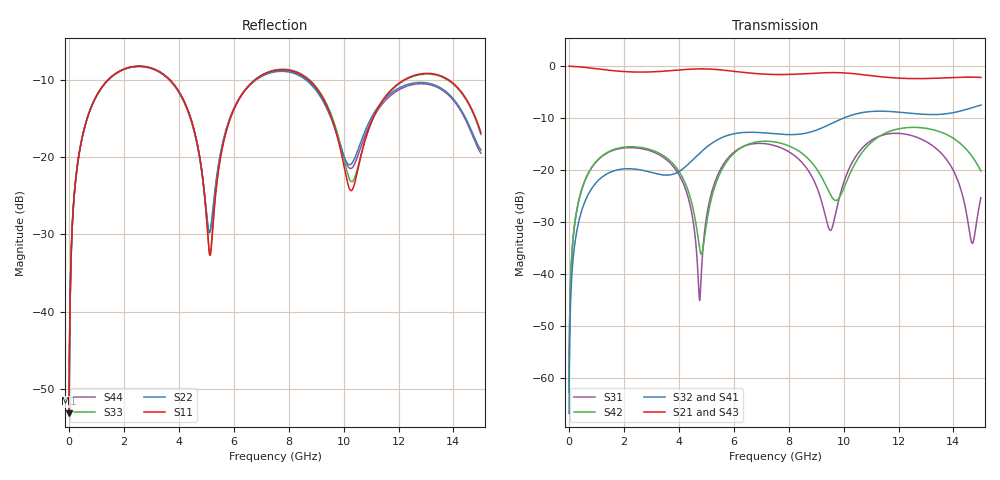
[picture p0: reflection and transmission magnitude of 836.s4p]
! Created with skrf 1.8.0 (http://scikit-rf.org).
# GHz S RI R 50.0
!freq ReS11 ImS11 ReS12 ImS12 ReS13 ImS13
! ReS14 ImS14
! ReS21 ImS21 ReS22 ImS22 ReS23 ImS23
! ReS24 ImS24
! ReS31 ImS31 ReS32 ImS32 ReS33 ImS33
! ReS34 ImS34
! ReS41 ImS41 ReS42 ImS42 ReS43 ImS43
! ReS44 ImS44
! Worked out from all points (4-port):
!   2499 points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, 5 MHz to 15 GHz, reference 50 ohm
!   strongest paths, dB at 5 MHz, 3.476 GHz, 7.19 GHz, 11.1 GHz, 15 GHz:
!     S21: 0.0, -1.0, -1.6, -1.9, -2.2
!     S43: 0.0, -1.0, -1.6, -1.9, -2.2
!     S32: -66.7, -20.9, -12.9, -8.7, -7.5
!     S41: -66.7, -20.9, -12.9, -8.7, -7.5
!     S42: -62.6, -17.3, -14.4, -14.3, -20.1
!     S31: -62.6, -17.7, -14.9, -14.0, -25.3
!   lowest |S11| = -53.2 dB at 5 MHz (marker M1), VSWR 1.00, Z = 50.2 + j0.133 ohm
!   |S11| at or under -10 dB: start of sweep to 1.413 GHz; 3.685 GHz to 6.762 GHz (3.077 GHz wide, 58.9 % of centre); 8.739 GHz to 12.18 GHz (3.443 GHz wide, 32.9 % of centre) (the widest 3 of 4)
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0.005  0.00175 0.00132  0.9982 -0.0034  8.94e-05 0.000733  -8.67e-05 -0.000454
       0.9982 -0.0034  0.00175 0.00132  -8.67e-05 -0.000454  8.95e-05 0.000733
       8.94e-05 0.000733  -8.67e-05 -0.000454  0.00175 0.00132  0.9982 -0.0034
       -8.67e-05 -0.000454  8.95e-05 0.000733  0.9982 -0.0034  0.00175 0.00132
0.3126303  0.0268 0.0864  0.9633 -0.2109  0.0128 0.0432  -0.0108 -0.0263
           0.9633 -0.2109  0.0268 0.0864  -0.0108 -0.0263  0.0133 0.0431
           0.0128 0.0432  -0.0108 -0.0263  0.0268 0.0864  0.9633 -0.2109
           -0.0108 -0.0263  0.0133 0.0431  0.9633 -0.2109  0.0268 0.0864
1.569404  0.2923 0.1647  0.4979 -0.7565  0.1407 0.0621  -0.097 0.00303
          0.4979 -0.7565  0.2903 0.1663  -0.0971 0.00308  0.146 0.0541
          0.1407 0.0621  -0.0971 0.00308  0.2923 0.1647  0.4978 -0.7566
          -0.097 0.00303  0.146 0.0541  0.4978 -0.7566  0.2903 0.1663
4.75198  0.0436 -0.093  -0.8922 -0.297  0.00568 -0.00013  -0.0415 0.139
         -0.8922 -0.297  0.052 -0.0863  -0.0408 0.1392  -0.0152 -0.00973
         0.00568 -0.00013  -0.0408 0.1392  0.0438 -0.0929  -0.8922 -0.2968
         -0.0415 0.139  -0.0152 -0.00973  -0.8922 -0.2968  0.0518 -0.0864
7.903293  0.368 -0.0292  -0.0304 0.8297  0.1415 -0.0648  0.2122 -0.0553
          -0.0304 0.8297  0.3593 -0.019  0.2125 -0.0571  0.1432 -0.1012
          0.1415 -0.0648  0.2125 -0.0571  0.3708 -0.0273  -0.03 0.8285
          0.2122 -0.0553  0.1432 -0.1012  -0.03 0.8285  0.3625 -0.0214
10.64819  0.0842 0.0627  0.8281 -0.0546  0.0525 0.1507  -0.0447 -0.3546
          0.8281 -0.0546  0.1145 0.0587  -0.0483 -0.353  0.0542 0.1342
          0.0525 0.1507  -0.0483 -0.353  0.0908 0.0545  0.8287 -0.0535
          -0.0447 -0.3546  0.0542 0.1342  0.8287 -0.0535  0.1068 0.053
15  0.0934 -0.1106  -0.6623 -0.409  0.0173 0.0516  -0.2161 0.3625
    -0.6623 -0.409  0.11 -0.0194  -0.2114 0.3654  -0.0825 -0.0541
    0.0173 0.0516  -0.2114 0.3654  0.0912 -0.1072  -0.6652 -0.4052
    -0.2161 0.3625  -0.0825 -0.0541  -0.6652 -0.4052  0.1053 -0.0158
